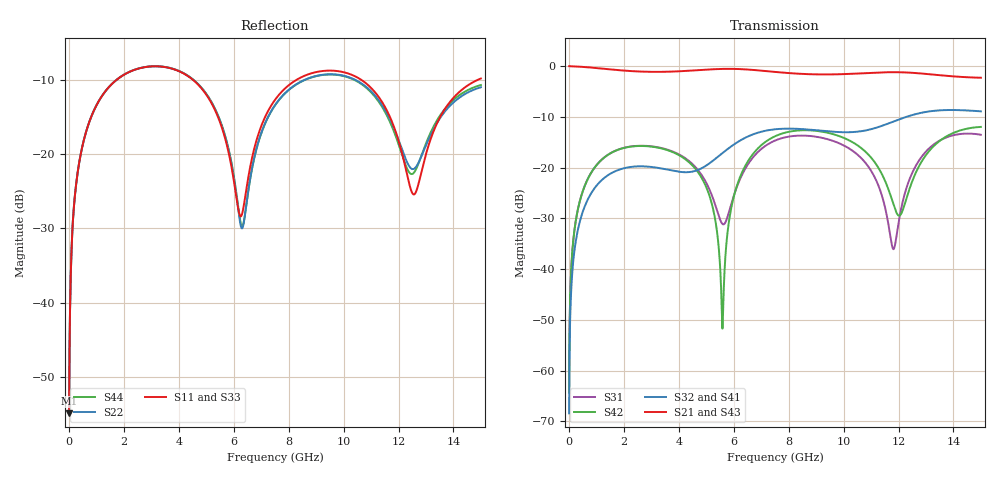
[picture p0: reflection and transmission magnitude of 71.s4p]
! Created with skrf 1.8.0 (http://scikit-rf.org).
# GHz S RI R 50.0
!freq ReS11 ImS11 ReS12 ImS12 ReS13 ImS13
! ReS14 ImS14
! ReS21 ImS21 ReS22 ImS22 ReS23 ImS23
! ReS24 ImS24
! ReS31 ImS31 ReS32 ImS32 ReS33 ImS33
! ReS34 ImS34
! ReS41 ImS41 ReS42 ImS42 ReS43 ImS43
! ReS44 ImS44
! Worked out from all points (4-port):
!   2499 points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, 5 MHz to 15 GHz, reference 50 ohm
!   strongest paths, dB at 5 MHz, 3.476 GHz, 7.19 GHz, 11.1 GHz, 15 GHz:
!     S21: 0.0, -1.1, -1.0, -1.3, -2.3
!     S43: 0.0, -1.1, -1.0, -1.3, -2.3
!     S32: -68.4, -20.3, -12.7, -12.3, -8.9
!     S41: -68.4, -20.4, -12.7, -12.4, -9.0
!     S42: -64.3, -16.4, -14.8, -18.7, -12.0
!     S31: -64.3, -16.3, -15.6, -21.5, -13.5
!   lowest |S11| = -54.9 dB at 5 MHz (marker M1), VSWR 1.00, Z = 50.1 + j0.108 ohm
!   |S11| at or under -10 dB: start of sweep to 1.732 GHz; 4.516 GHz to 8.284 GHz (3.768 GHz wide, 58.9 % of centre); 10.65 GHz to 14.88 GHz (4.239 GHz wide, 33.2 % of centre)
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0.005  0.00143 0.00108  0.9985 -0.00279  7.25e-05 0.000603  -7.02e-05 -0.000372
       0.9985 -0.00279  0.00143 0.00108  -7.02e-05 -0.000372  7.25e-05 0.000603
       7.25e-05 0.000603  -7.02e-05 -0.000372  0.00143 0.00108  0.9985 -0.00279
       -7.02e-05 -0.000372  7.25e-05 0.000603  0.9985 -0.00279  0.00143 0.00108
1.569404  0.231 0.1874  0.6275 -0.6787  0.1199 0.0749  -0.0867 -0.0192
          0.6275 -0.6787  0.2312 0.1873  -0.0868 -0.0191  0.1189 0.076
          0.1199 0.0749  -0.0868 -0.0191  0.2309 0.1875  0.6275 -0.6787
          -0.0867 -0.0192  0.1189 0.076  0.6275 -0.6787  0.2313 0.1873
5.589829  0.078 -0.1241  -0.8513 -0.3944  -0.025 -0.0121  -0.0558 0.1273
          -0.8513 -0.3944  0.0751 -0.1303  -0.053 0.1285  0.00251 0.000631
          -0.025 -0.0121  -0.053 0.1285  0.0784 -0.1251  -0.8509 -0.3948
          -0.0558 0.1273  0.00251 0.000631  -0.8509 -0.3948  0.0758 -0.1312
6.67153  0.0622 0.072  -0.9092 0.1308  0.0216 0.1212  0.0428 0.2062
         -0.9092 0.1308  0.0511 0.0632  0.047 0.2057  0.0649 0.116
         0.0216 0.1212  0.047 0.2057  0.0607 0.0698  -0.9095 0.1302
         0.0428 0.2062  0.0649 0.116  -0.9095 0.1302  0.0521 0.0616
10.01042  0.3435 -0.0926  0.0947 0.8286  0.15 -0.0688  0.2013 -0.087
          0.0947 0.8286  0.3313 -0.0616  0.2009 -0.0969  0.1496 -0.1267
          0.15 -0.0688  0.2009 -0.0969  0.3382 -0.0872  0.0957 0.8302
          0.2013 -0.087  0.1496 -0.1267  0.0957 0.8302  0.3282 -0.067
11.81742  0.0934 -0.1244  0.7366 0.4653  -0.0151 -0.00432  0.15 -0.2413
          0.7366 0.4653  0.114 -0.1006  0.1374 -0.249  -0.0317 -0.0295
          -0.0151 -0.00432  0.1374 -0.249  0.0938 -0.1165  0.739 0.4634
          0.15 -0.2413  -0.0317 -0.0295  0.739 0.4634  0.1057 -0.0986
15  0.314 0.0757  0.4261 -0.639  0.2084 0.0289  -0.3289 -0.1301
    0.4261 -0.639  0.2747 0.0627  -0.3399 -0.1139  0.2472 -0.047
    0.2084 0.0289  -0.3399 -0.1139  0.3107 0.0797  0.4238 -0.6389
    -0.3289 -0.1301  0.2472 -0.047  0.4238 -0.6389  0.2856 0.0598
